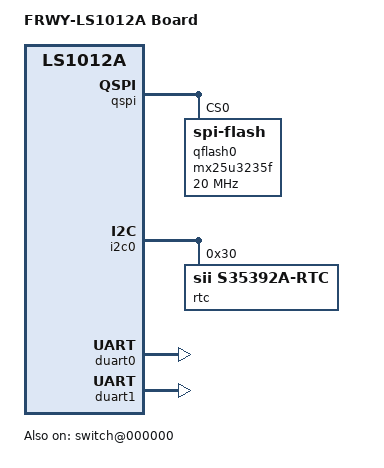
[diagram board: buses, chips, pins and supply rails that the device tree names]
// SPDX-License-Identifier: GPL-2.0+ OR X11
/*
 * NXP ls1012a FRWY board device tree source
 *
 * Copyright 2018 NXP
 *
 */

/dts-v1/;
#include "fsl-ls1012a.dtsi"

/ {
	model = "FRWY-LS1012A Board";

	aliases {
		spi0 = &qspi;
	};

	chosen {
		stdout-path = &duart1;
	};

	switch@000000{
			compatible = "marvell,mv88e6xxx";
			status = "okay";
			phy-addr = <0x6>;
			cpu-port = <0x0>;
			port-mask = <0x4e1>;
			fix-port = <0xa>;
			led-mode = <0x22>;
		};
};

&qspi {
	bus-num = <0>;
	status = "okay";

	qflash0: mx25u3235f@0 {
		#address-cells = <1>;
		#size-cells = <1>;
		compatible = "spi-flash";
		spi-max-frequency = <20000000>;
		reg = <0>;
	};
};

&i2c0 {
	status = "okay";
	
	rtc@30 {
		compatible = "sii,s35392a-rtc";
		reg = <0x30>;
	};

};

&duart0 {
	status = "okay";
};

&duart1 {
	status = "okay";
};
